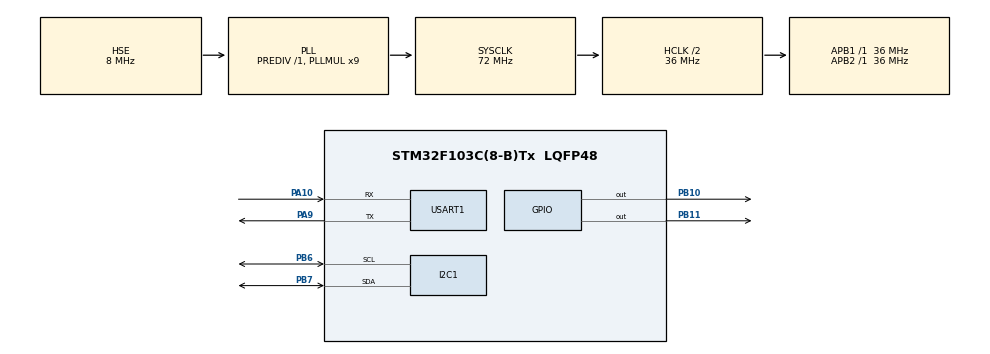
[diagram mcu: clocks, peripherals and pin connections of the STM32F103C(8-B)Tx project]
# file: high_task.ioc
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Dma.Request0=USART1_RX
Dma.Request1=USART1_TX
Dma.USART1_RX.0.Direction=DMA_PERIPH_TO_MEMORY
Dma.USART1_RX.0.Instance=DMA1_Channel5
Dma.USART1_RX.0.MemDataAlignment=DMA_MDATAALIGN_BYTE
Dma.USART1_RX.0.MemInc=DMA_MINC_ENABLE
Dma.USART1_RX.0.Mode=DMA_CIRCULAR
Dma.USART1_RX.0.PeriphDataAlignment=DMA_PDATAALIGN_BYTE
Dma.USART1_RX.0.PeriphInc=DMA_PINC_DISABLE
Dma.USART1_RX.0.Priority=DMA_PRIORITY_MEDIUM
Dma.USART1_TX.1.Direction=DMA_MEMORY_TO_PERIPH
Dma.USART1_TX.1.Instance=DMA1_Channel4
Dma.USART1_TX.1.MemDataAlignment=DMA_MDATAALIGN_BYTE
Dma.USART1_TX.1.MemInc=DMA_MINC_ENABLE
Dma.USART1_TX.1.Mode=DMA_NORMAL
Dma.USART1_TX.1.PeriphDataAlignment=DMA_PDATAALIGN_BYTE
Dma.USART1_TX.1.PeriphInc=DMA_PINC_DISABLE
Dma.USART1_TX.1.Priority=DMA_PRIORITY_LOW
FREERTOS.Queues01=AttitudeQueue,10,12,1,Dynamic,NULL,NULL
FREERTOS.Tasks01=defaultTask,0,128,StartDefaultTask,Default,NULL,Dynamic,NULL,NULL;UartTask,0,256,StartUartTask,Default,NULL,Dynamic,NULL,NULL;ImuTask,1,512,StartImuTask,Default,NULL,Dynamic,NULL,NULL;OledTask,-1,256,StartOledTask,Default,NULL,Dynamic,NULL,NULL
FREERTOS.configTOTAL_HEAP_SIZE=10240
I2C1.I2C_Mode=I2C_Fast
Mcu.Family=STM32F1
Mcu.Name=STM32F103C(8-B)Tx
Mcu.Package=LQFP48
NVIC.DMA1_Channel4_IRQn=true\:5\:0\:false\:false\:true\:true\:false\:true\:true
NVIC.DMA1_Channel5_IRQn=true\:5\:0\:false\:false\:true\:true\:false\:true\:true
NVIC.PriorityGroup=NVIC_PRIORITYGROUP_4
NVIC.TIM4_IRQn=true\:15\:0\:false\:false\:true\:false\:false\:true\:true
NVIC.TimeBase=TIM4_IRQn
NVIC.TimeBaseIP=TIM4
NVIC.USART1_IRQn=true\:5\:0\:false\:false\:true\:true\:false\:true\:true
PA10.Mode=Asynchronous
PA10.Signal=USART1_RX
PA13.Mode=Serial_Wire
PA13.Signal=SYS_JTMS-SWDIO
PA14.Mode=Serial_Wire
PA14.Signal=SYS_JTCK-SWCLK
PA9.Mode=Asynchronous
PA9.Signal=USART1_TX
PB10.GPIO_PuPd=GPIO_PULLUP
PB10.GPIO_Speed=GPIO_SPEED_FREQ_HIGH
PB10.PinState=GPIO_PIN_SET
PB10.Signal=GPIO_Output
PB11.GPIO_PuPd=GPIO_PULLUP
PB11.GPIO_Speed=GPIO_SPEED_FREQ_HIGH
PB11.PinState=GPIO_PIN_SET
PB11.Signal=GPIO_Output
PB6.Mode=I2C
PB6.Signal=I2C1_SCL
PB7.Mode=I2C
PB7.Signal=I2C1_SDA
PD0-OSC_IN.Mode=HSE-External-Oscillator
PD0-OSC_IN.Signal=RCC_OSC_IN
PD1-OSC_OUT.Mode=HSE-External-Oscillator
PD1-OSC_OUT.Signal=RCC_OSC_OUT
ProjectManager.HeapSize=0x200
ProjectManager.StackSize=0x400
ProjectManager.TargetToolchain=MDK-ARM V5.32
RCC.AHBCLKDivider=RCC_SYSCLK_DIV2
RCC.AHBFreq_Value=36000000
RCC.APB1Freq_Value=36000000
RCC.APB1TimFreq_Value=36000000
RCC.APB2Freq_Value=36000000
RCC.APB2TimFreq_Value=36000000
RCC.HCLKFreq_Value=36000000
RCC.PLLMUL=RCC_PLL_MUL9
RCC.PLLSourceVirtual=RCC_PLLSOURCE_HSE
RCC.SYSCLKFreq_VALUE=72000000
RCC.SYSCLKSource=RCC_SYSCLKSOURCE_PLLCLK
RCC.USBFreq_Value=72000000
USART1.VirtualMode=VM_ASYNC
VP_FREERTOS_VS_CMSIS_V1.Mode=CMSIS_V1
VP_SYS_VS_tim4.Mode=TIM4
board=custom

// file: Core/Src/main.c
/* USER CODE BEGIN Header */
/**
  ******************************************************************************
  * @file           : main.c
  * @brief          : Main program body
  ******************************************************************************
  * @attention
  *
  * Copyright (c) 2026 STMicroelectronics.
  * All rights reserved.
  *
  * This software is licensed under terms that can be found in the LICENSE file
  * in the root directory of this software component.
  * If no LICENSE file comes with this software, it is provided AS-IS.
  *
  ******************************************************************************
  */
/* USER CODE END Header */
#include "main.h"
#include "cmsis_os.h"
#include "dma.h"
#include "i2c.h"
#include "usart.h"
#include "gpio.h"

/* USER CODE BEGIN Includes */
#include "mpu6050.h"
#include <stdio.h>
#include <string.h>
#include "OLED.h"
/* USER CODE END Includes */

void SystemClock_Config(void);
void MX_FREERTOS_Init(void);

int main(void)
{

  /* MCU Configuration--------------------------------------------------------*/

  /* Reset of all peripherals, Initializes the Flash interface and the Systick. */
  HAL_Init();

  /* Configure the system clock */
  SystemClock_Config();

  /* Initialize all configured peripherals */
  MX_GPIO_Init();
  MX_DMA_Init();
  MX_USART1_UART_Init();
  MX_I2C1_Init();
  /* USER CODE BEGIN 2 */
  /* 外设初始化完成，UART DMA 接收在 StartUartTask 中启动 */
  /* USER CODE END 2 */

  /* Call init function for freertos objects (in cmsis_os2.c) */
  MX_FREERTOS_Init();

  /* Start scheduler */
  osKernelStart();

  /* We should never get here as control is now taken by the scheduler */

  /* Infinite loop */
  while (1)
  {

  }
}

void SystemClock_Config(void)
{
  RCC_OscInitTypeDef RCC_OscInitStruct = {0};
  RCC_ClkInitTypeDef RCC_ClkInitStruct = {0};

  /** Initializes the RCC Oscillators according to the specified parameters
  * in the RCC_OscInitTypeDef structure.
  */
  RCC_OscInitStruct.OscillatorType = RCC_OSCILLATORTYPE_HSE;
  RCC_OscInitStruct.HSEState = RCC_HSE_ON;
  RCC_OscInitStruct.HSEPredivValue = RCC_HSE_PREDIV_DIV1;
  RCC_OscInitStruct.HSIState = RCC_HSI_ON;
  RCC_OscInitStruct.PLL.PLLState = RCC_PLL_ON;
  RCC_OscInitStruct.PLL.PLLSource = RCC_PLLSOURCE_HSE;
  RCC_OscInitStruct.PLL.PLLMUL = RCC_PLL_MUL9;
  if (HAL_RCC_OscConfig(&RCC_OscInitStruct) != HAL_OK)
  {
    Error_Handler();
  }

  /** Initializes the CPU, AHB and APB buses clocks
  */
  RCC_ClkInitStruct.ClockType = RCC_CLOCKTYPE_HCLK|RCC_CLOCKTYPE_SYSCLK
                              |RCC_CLOCKTYPE_PCLK1|RCC_CLOCKTYPE_PCLK2;
  RCC_ClkInitStruct.SYSCLKSource = RCC_SYSCLKSOURCE_PLLCLK;
  RCC_ClkInitStruct.AHBCLKDivider = RCC_SYSCLK_DIV2;
  RCC_ClkInitStruct.APB1CLKDivider = RCC_HCLK_DIV1;
  RCC_ClkInitStruct.APB2CLKDivider = RCC_HCLK_DIV1;

  if (HAL_RCC_ClockConfig(&RCC_ClkInitStruct, FLASH_LATENCY_2) != HAL_OK)
  {
    Error_Handler();
  }
}

void HAL_TIM_PeriodElapsedCallback(TIM_HandleTypeDef *htim)
{
  if (htim->Instance == TIM4)
  {
    HAL_IncTick();
  }
}

void Error_Handler(void)
{
  __disable_irq();
  while (1)
  {
  }
}

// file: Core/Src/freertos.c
/* USER CODE BEGIN Header */
/**
  ******************************************************************************
  * File Name          : freertos.c
  * Description        : Code for freertos applications
  ******************************************************************************
  * @attention
  *
  * Copyright (c) 2026 STMicroelectronics.
  * All rights reserved.
  *
  * This software is licensed under terms that can be found in the LICENSE file
  * in the root directory of this software component.
  * If no LICENSE file comes with this software, it is provided AS-IS.
  *
  ******************************************************************************
  */
/* USER CODE END Header */

#include "FreeRTOS.h"
#include "task.h"
#include "main.h"
#include "cmsis_os.h"

/* USER CODE BEGIN Includes */
#include "mpu6050.h"
#include "i2c.h"
#include "usart.h"
#include "imu_filter.h"
#include <stdio.h>
#include <string.h>
#include "OLED.h"
#include "semphr.h"
/* USER CODE END Includes */

/* USER CODE BEGIN PD */
#define RX_BUF_SIZE  256
/* USER CODE END PD */

/* USER CODE BEGIN Variables */
MPU6050_Raw_t raw;
Attitude_t att;
float gx_offset = 0, gy_offset = 0, gz_offset = 0;
uint8_t rx_buf[RX_BUF_SIZE];
uint16_t g_rx_len = 0;
osSemaphoreId UartRxSemHandle;
/* USER CODE END Variables */
osThreadId defaultTaskHandle;
osThreadId UartTaskHandle;
osThreadId ImuTaskHandle;
osThreadId OledTaskHandle;
osMessageQId AttitudeQueueHandle;

void StartDefaultTask(void const * argument);
void StartUartTask(void const * argument);
void StartImuTask(void const * argument);
void StartOledTask(void const * argument);

void MX_FREERTOS_Init(void); /* (MISRA C 2004 rule 8.1) */

/* GetIdleTaskMemory prototype (linked to static allocation support) */
void vApplicationGetIdleTaskMemory( StaticTask_t **ppxIdleTaskTCBBuffer, StackType_t **ppxIdleTaskStackBuffer, uint32_t *pulIdleTaskStackSize );

/* USER CODE BEGIN GET_IDLE_TASK_MEMORY */
static StaticTask_t xIdleTaskTCBBuffer;
static StackType_t xIdleStack[configMINIMAL_STACK_SIZE];

void vApplicationGetIdleTaskMemory( StaticTask_t **ppxIdleTaskTCBBuffer, StackType_t **ppxIdleTaskStackBuffer, uint32_t *pulIdleTaskStackSize )
{
  *ppxIdleTaskTCBBuffer = &xIdleTaskTCBBuffer;
  *ppxIdleTaskStackBuffer = &xIdleStack[0];
  *pulIdleTaskStackSize = configMINIMAL_STACK_SIZE;
  /* place for user code */
}
/* USER CODE END GET_IDLE_TASK_MEMORY */

void MX_FREERTOS_Init(void) {

  /* USER CODE BEGIN RTOS_SEMAPHORES */
  osSemaphoreDef(UartRxSem);
  UartRxSemHandle = osSemaphoreCreate(osSemaphore(UartRxSem), 1);
  /* USER CODE END RTOS_SEMAPHORES */

  /* Create the queue(s) */
  /* 队列存放 Attitude_t 指针（4字节），深度10 */
  osMessageQDef(AttitudeQueue, 10, 4);
  AttitudeQueueHandle = osMessageCreate(osMessageQ(AttitudeQueue), NULL);

  /* Create the thread(s) */
  /* definition and creation of defaultTask */
  osThreadDef(defaultTask, StartDefaultTask, osPriorityNormal, 0, 128);
  defaultTaskHandle = osThreadCreate(osThread(defaultTask), NULL);

  /* definition and creation of UartTask */
  osThreadDef(UartTask, StartUartTask, osPriorityNormal, 0, 256);
  UartTaskHandle = osThreadCreate(osThread(UartTask), NULL);

  /* definition and creation of ImuTask */
  osThreadDef(ImuTask, StartImuTask, osPriorityAboveNormal, 0, 512);
  ImuTaskHandle = osThreadCreate(osThread(ImuTask), NULL);

  /* definition and creation of OledTask */
  osThreadDef(OledTask, StartOledTask, osPriorityBelowNormal, 0, 256);
  OledTaskHandle = osThreadCreate(osThread(OledTask), NULL);

}

/* USER CODE BEGIN Header_StartDefaultTask */
/**
  * @brief  初始化任务：完成 MPU6050、OLED、Mahony 滤波器初始化及陀螺仪零偏校准
  * @param  argument: Not used
  * @retval None
  */
/* USER CODE END Header_StartDefaultTask */
void StartDefaultTask(void const * argument)
{
  /* USER CODE BEGIN StartDefaultTask */
  Mahony_Init(100.0f);          /* 与 ImuTask 的 osDelay(10) 对应，100Hz */
  OLED_Init();
  OLED_ShowString(1, 1, "IMU Attitude");
  OLED_ShowString(2, 1, "Roll: 0.0   ");
  OLED_ShowString(3, 1, "Pitch: 0.0  ");
  OLED_ShowString(4, 1, "Yaw: 0.0    ");

  MPU6050_Init(&hi2c1);

  /* 陀螺仪零偏校准：静止采样 200 次取平均 */
  for (int i = 0; i < 200; i++)
  {
    MPU6050_ReadRaw(&hi2c1, &raw);
    gx_offset += raw.gx;
    gy_offset += raw.gy;
    gz_offset += raw.gz;
    osDelay(5);
  }
  gx_offset /= 200.0f;
  gy_offset /= 200.0f;
  gz_offset /= 200.0f;

  for (;;)
  {
    osDelay(1000);
  }
  /* USER CODE END StartDefaultTask */
}

/* USER CODE BEGIN Header_StartUartTask */
/**
  * @brief  串口任务：启动 DMA 不定长接收，IDLE 中断通知后原样回传
  * @param  argument: Not used
  * @retval None
  */
/* USER CODE END Header_StartUartTask */
void StartUartTask(void const * argument)
{
  /* USER CODE BEGIN StartUartTask */
  /* 启动 DMA 循环接收 + 使能 IDLE 中断 */
  HAL_UART_Receive_DMA(&huart1, rx_buf, RX_BUF_SIZE);
  __HAL_UART_ENABLE_IT(&huart1, UART_IT_IDLE);

  for (;;)
  {
    /* 等待 IDLE 中断释放信号量 */
    osSemaphoreWait(UartRxSemHandle, osWaitForever);

    if (g_rx_len > 0)
    {
      /* 停止当前 DMA，准备回传 */
      HAL_UART_DMAStop(&huart1);

      /* DMA 发送收到的数据 */
      HAL_UART_Transmit_DMA(&huart1, rx_buf, g_rx_len);
      /* 等待发送完成 */
      while (__HAL_UART_GET_FLAG(&huart1, UART_FLAG_TC) == RESET);

      /* 重新启动 DMA 接收 */
      HAL_UART_Receive_DMA(&huart1, rx_buf, RX_BUF_SIZE);
    }
  }
  /* USER CODE END StartUartTask */
}

/* USER CODE BEGIN Header_StartImuTask */
/**
  * @brief  IMU 采样与姿态解算任务：100Hz 读 MPU6050，Mahony 滤波后发队列
  * @param  argument: Not used
  * @retval None
  */
/* USER CODE END Header_StartImuTask */
void StartImuTask(void const * argument)
{
  /* USER CODE BEGIN StartImuTask */
  for (;;)
  {
    MPU6050_ReadRaw(&hi2c1, &raw);
    raw.gx -= gx_offset;
    raw.gy -= gy_offset;
    raw.gz -= gz_offset;
    /* 陀螺仪从 °/s 转成 rad/s 再给 Mahony */
    Mahony_Update(&att, raw.ax, raw.ay, raw.az,
                  raw.gx * 0.0174533f, raw.gy * 0.0174533f, raw.gz * 0.0174533f);

    /* 把姿态数据指针发给 OLED 任务 */
    osMessagePut(AttitudeQueueHandle, (uint32_t)&att, 0);

    osDelay(10);   /* 100 Hz，与 Mahony_Init(100.0f) 一致 */
  }
  /* USER CODE END StartImuTask */
}

/* USER CODE BEGIN Header_StartOledTask */
/**
  * @brief  OLED 显示任务：从队列取姿态数据，刷新 Roll/Pitch/Yaw
  * @param  argument: Not used
  * @retval None
  */
/* USER CODE END Header_StartOledTask */
void StartOledTask(void const * argument)
{
  /* USER CODE BEGIN StartOledTask */
  char buf[24];
  for (;;)
  {
    osEvent evt = osMessageGet(AttitudeQueueHandle, osWaitForever);
    if (evt.status == osEventMessage)
    {
      Attitude_t *patt = (Attitude_t *)evt.value.v;

      sprintf(buf, "Roll: %6.1f\x7F ", patt->roll);
      OLED_ShowString(2, 1, buf);

      sprintf(buf, "Pitch:%6.1f\x7F ", patt->pitch);
      OLED_ShowString(3, 1, buf);

      sprintf(buf, "Yaw:  %6.1f\x7F ", patt->yaw);
      OLED_ShowString(4, 1, buf);
    }
  }
  /* USER CODE END StartOledTask */
}
